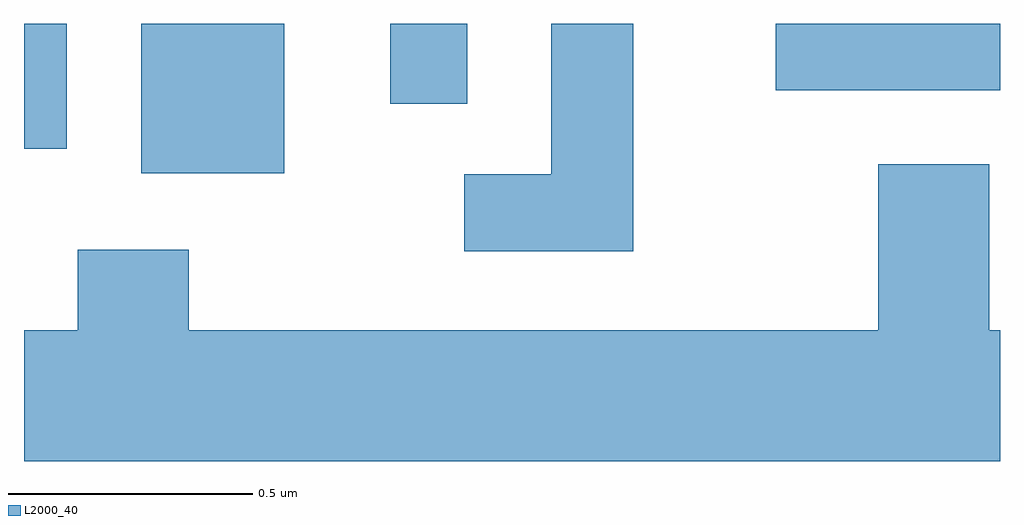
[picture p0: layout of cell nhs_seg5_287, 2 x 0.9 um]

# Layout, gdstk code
import gdstk
lib = gdstk.Library(unit=1e-6, precision=1e-09)
def R(c, l, rs):  # rectangles x0, y0, x1, y1
    for r in rs: c.add(gdstk.rectangle(r[:2], r[2:], *l))
def P(c, l, *ps):  # polygons
    for p in ps: c.add(gdstk.Polygon(p, *l))
L2000_40 = (2000, 40)

nhs_seg5_287 = lib.new_cell('nhs_seg5_287')
R(nhs_seg5_287, L2000_40, [(187.851,1410.766,188.144,1411.072), (187.611,1410.816,187.699,1411.072), (188.361,1410.908,188.519,1411.072), (189.151,1410.936,189.611,1411.072)])
P(nhs_seg5_287, L2000_40, [(188.859,1411.072),(188.691,1411.072),(188.691,1410.764),(188.513,1410.764),(188.513,1410.606),(188.859,1410.606)],
  [(189.611,1410.444),(189.589,1410.444),(189.589,1410.784),(189.361,1410.784),(189.361,1410.444),(187.949,1410.444),(187.949,1410.609),(187.721,1410.609),(187.721,1410.444),(187.611,1410.444),(187.611,1410.176),(189.611,1410.176)])

lib.write_gds('nhs_seg5_287.gds')
